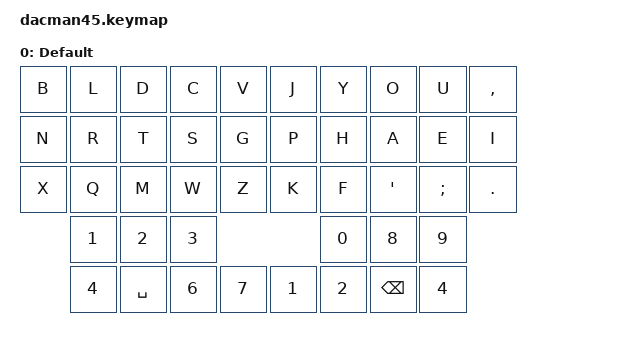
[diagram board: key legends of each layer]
/*
 * SPDX-License-Identifier: MIT
 */

#include <behaviors.dtsi>
#include <dt-bindings/zmk/keys.h>
#include <dt-bindings/zmk/bt.h>
#include <dt-bindings/zmk/ext_power.h>

/ {
    keymap {
        compatible = "zmk,keymap";

        default_layer {
            display-name = "Default";
            bindings = <
                &kp B          &kp L     &kp D       &kp C     &kp V                            &kp J     &kp Y     &kp O     &kp U    &kp COMMA
                &kp N          &kp R     &kp T       &kp S     &kp G                            &kp P     &kp H     &kp A     &kp E    &kp I
                &kp X          &kp Q     &kp M       &kp W     &kp Z                            &kp K     &kp F     &kp SQT   &kp SEMI &kp DOT
                               &kp N1    &kp N2      &kp N3                                               &kp N0    &kp N8    &kp N9
                               &kp N4    &kp SPACE   &kp N6    &kp N7                           &kp N1    &kp N2    &kp BSPC  &kp N4
            >;
        };
    };
};
